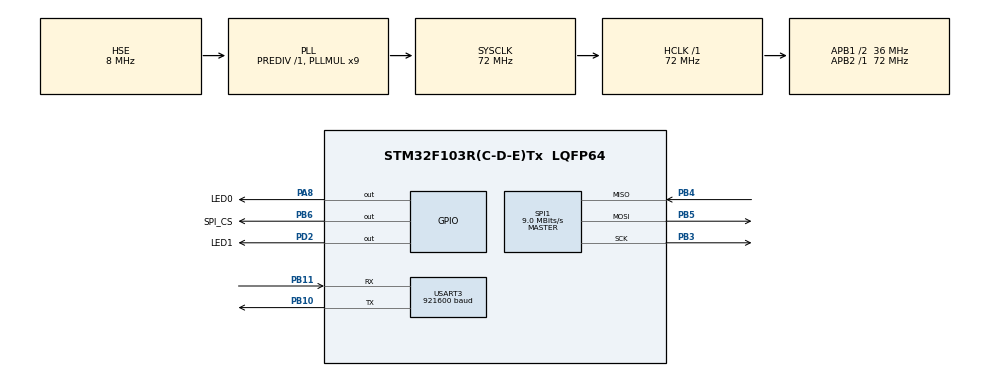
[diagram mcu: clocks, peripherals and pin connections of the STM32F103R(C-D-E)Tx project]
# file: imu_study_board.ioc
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Mcu.Family=STM32F1
Mcu.Name=STM32F103R(C-D-E)Tx
Mcu.Package=LQFP64
NVIC.PriorityGroup=NVIC_PRIORITYGROUP_4
PA13.Mode=Serial_Wire
PA13.Signal=SYS_JTMS-SWDIO
PA14.Mode=Serial_Wire
PA14.Signal=SYS_JTCK-SWCLK
PA8.GPIO_Label=LED0
PA8.GPIO_ModeDefaultOutputPP=GPIO_MODE_OUTPUT_OD
PA8.PinState=GPIO_PIN_RESET
PA8.Signal=GPIO_Output
PB10.Mode=Asynchronous
PB10.Signal=USART3_TX
PB11.Mode=Asynchronous
PB11.Signal=USART3_RX
PB3.Mode=Full_Duplex_Master
PB3.Signal=SPI1_SCK
PB4.Mode=Full_Duplex_Master
PB4.Signal=SPI1_MISO
PB5.Mode=Full_Duplex_Master
PB5.Signal=SPI1_MOSI
PB6.GPIO_Label=SPI_CS
PB6.GPIO_Speed=GPIO_SPEED_FREQ_HIGH
PB6.PinState=GPIO_PIN_SET
PB6.Signal=GPIO_Output
PD0-OSC_IN.Mode=HSE-External-Oscillator
PD0-OSC_IN.Signal=RCC_OSC_IN
PD1-OSC_OUT.Mode=HSE-External-Oscillator
PD1-OSC_OUT.Signal=RCC_OSC_OUT
PD2.GPIO_Label=LED1
PD2.GPIO_ModeDefaultOutputPP=GPIO_MODE_OUTPUT_OD
PD2.Signal=GPIO_Output
ProjectManager.HeapSize=0x200
ProjectManager.StackSize=0x400
ProjectManager.TargetToolchain=MDK-ARM V5
RCC.AHBFreq_Value=72000000
RCC.APB1CLKDivider=RCC_HCLK_DIV2
RCC.APB1Freq_Value=36000000
RCC.APB1TimFreq_Value=72000000
RCC.APB2Freq_Value=72000000
RCC.APB2TimFreq_Value=72000000
RCC.HCLKFreq_Value=72000000
RCC.PLLMUL=RCC_PLL_MUL9
RCC.PLLSourceVirtual=RCC_PLLSOURCE_HSE
RCC.SYSCLKFreq_VALUE=72000000
RCC.SYSCLKSource=RCC_SYSCLKSOURCE_PLLCLK
RCC.USBFreq_Value=72000000
SPI1.BaudRatePrescaler=SPI_BAUDRATEPRESCALER_8
SPI1.CLKPhase=SPI_PHASE_2EDGE
SPI1.CLKPolarity=SPI_POLARITY_HIGH
SPI1.CalculateBaudRate=9.0 MBits/s
SPI1.Direction=SPI_DIRECTION_2LINES
SPI1.Mode=SPI_MODE_MASTER
SPI1.VirtualType=VM_MASTER
USART3.BaudRate=921600
USART3.VirtualMode=VM_ASYNC
board=custom

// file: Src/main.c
/* USER CODE BEGIN Header */
/**
  ******************************************************************************
  * @file           : main.c
  * @brief          : Main program body
  ******************************************************************************
  * @attention
  *
  * <h2><center>&copy; Copyright (c) 2020 STMicroelectronics.
  * All rights reserved.</center></h2>
  *
  * This software component is licensed by ST under BSD 3-Clause license,
  * the "License"; You may not use this file except in compliance with the
  * License. You may obtain a copy of the License at:
  *                        opensource.org/licenses/BSD-3-Clause
  *
  ******************************************************************************
  */
/* USER CODE END Header */

#include "main.h"
#include "spi.h"
#include "usart.h"
#include "gpio.h"

/* USER CODE BEGIN Includes */
#include <math.h>
#include "SEEKFREE_ICM20602.h"
/* USER CODE END Includes */

void SystemClock_Config(void);

/* USER CODE BEGIN 0 */

void send_my_heart_to_u(float x, float y)
{
  const size_t data_length = 1 + sizeof(float) + sizeof(float) + 2;
  uint8_t data[data_length];
  data[0] = 0xa5;
  data[data_length - 2] = 0;
  data[data_length - 1] = 0x5a;

  memcpy(data + 1, (uint8_t *)(&x), sizeof(float));
  memcpy(data + 1 + sizeof(float), (uint8_t *)(&y), sizeof(float));

  for (size_t i = 1; i < data_length - 2; i++)
  {
    data[data_length - 2] += data[i];
  }

  HAL_UART_Transmit(&huart3, data, data_length, 0xFFFF);
}

void send_temperature(float tp)
{
  const size_t data_length = 1 + sizeof(float) + 2;
  uint8_t data[data_length];
  data[0] = 0xa5;
  data[data_length - 2] = 0;
  data[data_length - 1] = 0x5a;

  memcpy(data + 1, (uint8_t *)(&tp), sizeof(float));

  for (size_t i = 1; i < data_length - 2; i++)
  {
    data[data_length - 2] += data[i];
  }

  HAL_UART_Transmit(&huart3, data, data_length, 0xFFFF);
}

void send_imu_data(int16_t gyro_x, int16_t gyro_y, int16_t gyro_z,
                   int16_t acc_x, int16_t acc_y, int16_t acc_z)
{
  const size_t data_length = 1 + 6 * sizeof(int16_t) + 2;
  uint8_t data[data_length];
  data[0] = 0xa5;
  data[data_length - 2] = 0;
  data[data_length - 1] = 0x5a;

  memcpy(data + 1 + 0 * sizeof(int16_t), (uint8_t *)(&gyro_x), sizeof(int16_t));
  memcpy(data + 1 + 1 * sizeof(int16_t), (uint8_t *)(&gyro_y), sizeof(int16_t));
  memcpy(data + 1 + 2 * sizeof(int16_t), (uint8_t *)(&gyro_z), sizeof(int16_t));
  memcpy(data + 1 + 3 * sizeof(int16_t), (uint8_t *)(&acc_x), sizeof(int16_t));
  memcpy(data + 1 + 4 * sizeof(int16_t), (uint8_t *)(&acc_y), sizeof(int16_t));
  memcpy(data + 1 + 5 * sizeof(int16_t), (uint8_t *)(&acc_z), sizeof(int16_t));

  for (size_t i = 1; i < data_length - 2; i++)
  {
    data[data_length - 2] += data[i];
  }

  HAL_UART_Transmit(&huart3, data, data_length, 0xFFFF);
}

/* USER CODE END 0 */

int main(void)
{

  /* MCU Configuration--------------------------------------------------------*/

  /* Reset of all peripherals, Initializes the Flash interface and the Systick. */
  HAL_Init();

  /* Configure the system clock */
  SystemClock_Config();

  /* Initialize all configured peripherals */
  MX_GPIO_Init();
  MX_USART3_UART_Init();
  MX_SPI1_Init();
  /* USER CODE BEGIN 2 */

  //在这里初始化imu模块
  icm20602_init_spi();

  /* USER CODE END 2 */

  /* Infinite loop */
  /* USER CODE BEGIN WHILE */

  double t = 0.0;
  uint32_t i = 0;
  double x = 0, y = 0;
  while (1)
  {
    /* USER CODE END WHILE */

    /* USER CODE BEGIN 3 */
    HAL_Delay(30);

    /****************send_my_heart_to_u。。。start*****************************/
    t += 0.01;
    x = 16 * sin(t) * sin(t) * sin(t);
    y = 13 * cos(t) - 5 * cos(2 * t) - 2 * cos(3 * t) - cos(4 * t);
    //send_my_heart_to_u(x, y);
    /****************send_my_heart_to_u。。。end*****************************/

    /****************imu codes start*****************************/
    get_icm20602_accdata_spi();
    get_icm20602_gyro_spi();
    send_imu_data(icm_gyro_x, icm_gyro_y, icm_gyro_z, icm_acc_x, icm_acc_y, icm_acc_z);
    /****************imu codes end*****************************/

    //闪灯程序
    i++;
    if (i % 40 == 0)
    {
      HAL_GPIO_WritePin(LED0_GPIO_Port, LED0_Pin, GPIO_PIN_RESET);
      HAL_GPIO_WritePin(LED1_GPIO_Port, LED1_Pin, GPIO_PIN_RESET);
    }
    else if (i % 40 == 20)
    {
      HAL_GPIO_WritePin(LED0_GPIO_Port, LED0_Pin, GPIO_PIN_SET);
      HAL_GPIO_WritePin(LED1_GPIO_Port, LED1_Pin, GPIO_PIN_SET);
    }
  }
  /* USER CODE END 3 */
}

void SystemClock_Config(void)
{
  RCC_OscInitTypeDef RCC_OscInitStruct = {0};
  RCC_ClkInitTypeDef RCC_ClkInitStruct = {0};

  /** Initializes the CPU, AHB and APB busses clocks
  */
  RCC_OscInitStruct.OscillatorType = RCC_OSCILLATORTYPE_HSE;
  RCC_OscInitStruct.HSEState = RCC_HSE_ON;
  RCC_OscInitStruct.HSEPredivValue = RCC_HSE_PREDIV_DIV1;
  RCC_OscInitStruct.HSIState = RCC_HSI_ON;
  RCC_OscInitStruct.PLL.PLLState = RCC_PLL_ON;
  RCC_OscInitStruct.PLL.PLLSource = RCC_PLLSOURCE_HSE;
  RCC_OscInitStruct.PLL.PLLMUL = RCC_PLL_MUL9;
  if (HAL_RCC_OscConfig(&RCC_OscInitStruct) != HAL_OK)
  {
    Error_Handler();
  }
  /** Initializes the CPU, AHB and APB busses clocks
  */
  RCC_ClkInitStruct.ClockType = RCC_CLOCKTYPE_HCLK | RCC_CLOCKTYPE_SYSCLK | RCC_CLOCKTYPE_PCLK1 | RCC_CLOCKTYPE_PCLK2;
  RCC_ClkInitStruct.SYSCLKSource = RCC_SYSCLKSOURCE_PLLCLK;
  RCC_ClkInitStruct.AHBCLKDivider = RCC_SYSCLK_DIV1;
  RCC_ClkInitStruct.APB1CLKDivider = RCC_HCLK_DIV2;
  RCC_ClkInitStruct.APB2CLKDivider = RCC_HCLK_DIV1;

  if (HAL_RCC_ClockConfig(&RCC_ClkInitStruct, FLASH_LATENCY_2) != HAL_OK)
  {
    Error_Handler();
  }
}

void Error_Handler(void)
{
}

/************************ (C) COPYRIGHT STMicroelectronics *****END OF FILE****/
